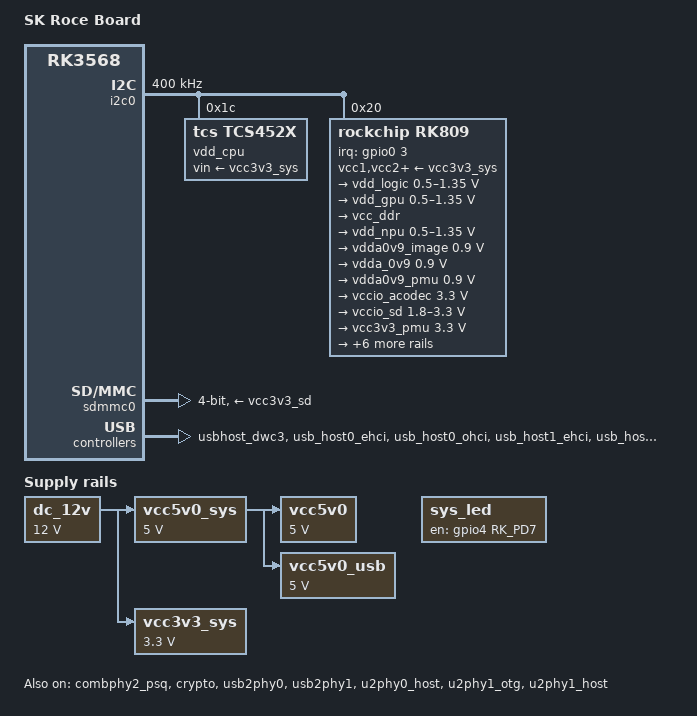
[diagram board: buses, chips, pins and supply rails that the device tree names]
// SPDX-License-Identifier: (GPL-2.0+ OR MIT)
/*
* Copyright (c) 2020 Rockchip Electronics Co., Ltd.
* Copyright (c) 2025 Sergey Kharenko
*/

/dts-v1/;

#include "rk3568.dtsi"
#include "rk3568-u-boot.dtsi"
#include <dt-bindings/input/input.h>

/ {
	model = "SK Roce Board";
	compatible = "sk,roce", "rockchip,rk3568";
	
	aliases {
		mmc0 = &sdhci;
        mmc1 = &sdmmc0;
		scsi = &sata0;
	};

	dc_12v: dc-12v-regulator {
		u-boot,dm-pre-reloc;
		compatible = "regulator-fixed";
		regulator-name = "dc_12v";
		regulator-always-on;
		regulator-boot-on;
		regulator-min-microvolt = <12000000>;
		regulator-max-microvolt = <12000000>;
	};
	
	sys_led: sys-led {
		u-boot,dm-pre-reloc;
		compatible = "regulator-fixed";
		regulator-name = "sys_led";
		enable-active-high;
		gpio = <&gpio4 RK_PD7 GPIO_ACTIVE_HIGH>;
		regulator-boot-on;
		regulator-always-on;
	};
	
	vcc5v0: vcc5v0 {
		u-boot,dm-pre-reloc;
		compatible = "regulator-fixed";
		regulator-name = "vcc5v0";
		regulator-always-on;
		regulator-boot-on;
		regulator-min-microvolt = <5000000>;
		regulator-max-microvolt = <5000000>;
		vin-supply = <&vcc5v0_sys>;
	};
	
	vcc5v0_sys: vcc5v0-sys {
		u-boot,dm-pre-reloc;
		compatible = "regulator-fixed";
		regulator-name = "vcc5v0_sys";
		regulator-always-on;
		regulator-boot-on;
		regulator-min-microvolt = <5000000>;
		regulator-max-microvolt = <5000000>;
		vin-supply = <&dc_12v>;
	};
	
	vcc5v0_usb: vcc5v0-usb {
		u-boot,dm-pre-reloc;
		compatible = "regulator-fixed";
		regulator-name = "vcc5v0_usb";
		regulator-always-on;
		regulator-boot-on;
		regulator-min-microvolt = <5000000>;
		regulator-max-microvolt = <5000000>;
		vin-supply = <&vcc5v0_sys>;
	};
	
	vcc3v3_sys: vcc3v3-sys {
		u-boot,dm-pre-reloc;
		compatible = "regulator-fixed";
		regulator-name = "vcc3v3_sys";
		regulator-always-on;
		regulator-boot-on;
		regulator-min-microvolt = <3300000>;
		regulator-max-microvolt = <3300000>;
		vin-supply = <&dc_12v>;
	};
};

&combphy2_psq {
	u-boot,dm-pre-reloc;
	status = "okay";
};

&crypto {
	status = "okay";
};

&gpio0 {
	u-boot,dm-pre-reloc;
	status = "okay";
};

&gpio1 {
	u-boot,dm-pre-reloc;
	status = "okay";
};

&gpio3 {
	u-boot,dm-pre-reloc;
	status = "okay";
};

&gpio4 {
	u-boot,dm-pre-reloc;
	status = "okay";
};

&i2c0 {
    u-boot,dm-pre-reloc;
	status = "okay";
	clock-frequency = <400000>;
	
	vdd_cpu: tcs4525@1c {
        u-boot,dm-pre-reloc;
		compatible = "tcs,tcs452x";
		reg = <0x1c>;
		vin-supply = <&vcc3v3_sys>;
		regulator-compatible = "fan53555-reg";
		regulator-name = "vdd_cpu";
		regulator-min-microvolt = <712500>;
		regulator-max-microvolt = <1390000>;
		regulator-init-microvolt = <900000>;
		regulator-ramp-delay = <2300>;
		fcs,suspend-voltage-selector = <1>;
		regulator-boot-on;
		regulator-always-on;
		regulator-state-mem {
			regulator-off-in-suspend;
		};
	};
	
	rk809: pmic@20 {
        u-boot,dm-pre-reloc;
		compatible = "rockchip,rk809";
		reg = <0x20>;
		interrupt-parent = <&gpio0>;
		interrupts = <3 IRQ_TYPE_LEVEL_LOW>;
		
		pinctrl-names = "default", "pmic-sleep",
		"pmic-power-off", "pmic-reset";
		pinctrl-0 = <&pmic_int>;
		pinctrl-1 = <&soc_slppin_slp>, <&rk817_slppin_slp>;
		pinctrl-2 = <&soc_slppin_gpio>, <&rk817_slppin_pwrdn>;
		pinctrl-3 = <&soc_slppin_gpio>, <&rk817_slppin_rst>;
		
		rockchip,system-power-controller;
		wakeup-source;
		#clock-cells = <1>;
		clock-output-names = "rk808-clkout1", "rk808-clkout2";
		//fb-inner-reg-idxs = <2>;
		/* 1: rst regs (default in codes), 0: rst the pmic */
		pmic-reset-func = <0>;
		/* not save the PMIC_POWER_EN register in uboot */
		not-save-power-en = <1>;
		
		vcc1-supply = <&vcc3v3_sys>;
		vcc2-supply = <&vcc3v3_sys>;
		vcc3-supply = <&vcc3v3_sys>;
		vcc4-supply = <&vcc3v3_sys>;
		vcc5-supply = <&vcc3v3_sys>;
		vcc6-supply = <&vcc3v3_sys>;
		vcc7-supply = <&vcc3v3_sys>;
		vcc8-supply = <&vcc3v3_sys>;
		vcc9-supply = <&vcc3v3_sys>;
		
		pwrkey {
            u-boot,dm-pre-reloc;
			status = "okay";
		};
		
		pinctrl_rk8xx: pinctrl_rk8xx {
            u-boot,dm-pre-reloc;
			gpio-controller;
			#gpio-cells = <2>;
			
			rk817_slppin_null: rk817_slppin_null {
                u-boot,dm-pre-reloc;
				pins = "gpio_slp";
				function = "pin_fun0";
			};
			
			rk817_slppin_slp: rk817_slppin_slp {
                u-boot,dm-pre-reloc;
				pins = "gpio_slp";
				function = "pin_fun1";
			};
			
			rk817_slppin_pwrdn: rk817_slppin_pwrdn {
                u-boot,dm-pre-reloc;
				pins = "gpio_slp";
				function = "pin_fun2";
			};
			
			rk817_slppin_rst: rk817_slppin_rst {
                u-boot,dm-pre-reloc;
				pins = "gpio_slp";
				function = "pin_fun3";
			};
		};
		
		regulators {
            u-boot,dm-pre-reloc;
			vdd_logic: DCDC_REG1 {
                u-boot,dm-pre-reloc;
				regulator-always-on;
				regulator-boot-on;
				regulator-min-microvolt = <500000>;
				regulator-max-microvolt = <1350000>;
				regulator-init-microvolt = <900000>;
				regulator-ramp-delay = <6001>;
				regulator-initial-mode = <0x2>;
				regulator-name = "vdd_logic";
				regulator-state-mem {
                    u-boot,dm-pre-reloc;
					regulator-off-in-suspend;
				};
			};
			
			vdd_gpu: DCDC_REG2 {
                u-boot,dm-pre-reloc;
				regulator-always-on;
				regulator-boot-on;
				regulator-min-microvolt = <500000>;
				regulator-max-microvolt = <1350000>;
				regulator-init-microvolt = <900000>;
				regulator-ramp-delay = <6001>;
				regulator-initial-mode = <0x2>;
				regulator-name = "vdd_gpu";
				regulator-state-mem {
                    u-boot,dm-pre-reloc;
					regulator-off-in-suspend;
				};
			};
			
			vcc_ddr: DCDC_REG3 {
                u-boot,dm-pre-reloc;
				regulator-always-on;
				regulator-boot-on;
				regulator-initial-mode = <0x2>;
				regulator-name = "vcc_ddr";
				regulator-state-mem {
                    u-boot,dm-pre-reloc;
					regulator-on-in-suspend;
				};
			};
			
			vdd_npu: DCDC_REG4 {
                u-boot,dm-pre-reloc;
				regulator-always-on;
				regulator-boot-on;
				regulator-min-microvolt = <500000>;
				regulator-max-microvolt = <1350000>;
				regulator-init-microvolt = <900000>;
				regulator-ramp-delay = <6001>;
				regulator-initial-mode = <0x2>;
				regulator-name = "vdd_npu";
				regulator-state-mem {
                    u-boot,dm-pre-reloc;
					regulator-off-in-suspend;
				};
			};
			
			vdda0v9_image: LDO_REG1 {
                u-boot,dm-pre-reloc;
				regulator-boot-on;
				regulator-always-on;
				regulator-min-microvolt = <900000>;
				regulator-max-microvolt = <900000>;
				regulator-name = "vdda0v9_image";
				regulator-state-mem {
                    u-boot,dm-pre-reloc;
					regulator-off-in-suspend;
				};
			};
			
			vdda_0v9: LDO_REG2 {
                u-boot,dm-pre-reloc;
				regulator-always-on;
				regulator-boot-on;
				regulator-min-microvolt = <900000>;
				regulator-max-microvolt = <900000>;
				regulator-name = "vdda_0v9";
				regulator-state-mem {
                    u-boot,dm-pre-reloc;
					regulator-off-in-suspend;
				};
			};
			
			vdda0v9_pmu: LDO_REG3 {
                u-boot,dm-pre-reloc;
				regulator-always-on;
				regulator-boot-on;
				regulator-min-microvolt = <900000>;
				regulator-max-microvolt = <900000>;
				regulator-name = "vdda0v9_pmu";
				regulator-state-mem {
                    u-boot,dm-pre-reloc;
					regulator-on-in-suspend;
					regulator-suspend-microvolt = <900000>;
				};
			};
			
			vccio_acodec: LDO_REG4 {
                u-boot,dm-pre-reloc;
				regulator-always-on;
				regulator-boot-on;
				regulator-min-microvolt = <3300000>;
				regulator-max-microvolt = <3300000>;
				regulator-name = "vccio_acodec";
				regulator-state-mem {
                    u-boot,dm-pre-reloc;
					regulator-off-in-suspend;
				};
			};
			
			vccio_sd: LDO_REG5 {
                u-boot,dm-pre-reloc;
				regulator-always-on;
				regulator-boot-on;
				regulator-min-microvolt = <1800000>;
				regulator-max-microvolt = <3300000>;
				regulator-name = "vccio_sd";
				regulator-state-mem {
                    u-boot,dm-pre-reloc;
					regulator-off-in-suspend;
				};
			};
			
			vcc3v3_pmu: LDO_REG6 {
                u-boot,dm-pre-reloc;
				regulator-always-on;
				regulator-boot-on;
				regulator-min-microvolt = <3300000>;
				regulator-max-microvolt = <3300000>;
				regulator-name = "vcc3v3_pmu";
				regulator-state-mem {
                    u-boot,dm-pre-reloc;
					regulator-on-in-suspend;
					regulator-suspend-microvolt = <3300000>;
				};
			};
			
			vcca_1v8: LDO_REG7 {
                u-boot,dm-pre-reloc;
				regulator-always-on;
				regulator-boot-on;
				regulator-min-microvolt = <1800000>;
				regulator-max-microvolt = <1800000>;
				regulator-name = "vcca_1v8";
				regulator-state-mem {
                    u-boot,dm-pre-reloc;
					regulator-off-in-suspend;
				};
			};
			
			vcca1v8_pmu: LDO_REG8 {
                u-boot,dm-pre-reloc;
				regulator-always-on;
				regulator-boot-on;
				regulator-min-microvolt = <1800000>;
				regulator-max-microvolt = <1800000>;
				regulator-name = "vcca1v8_pmu";
				regulator-state-mem {
                    u-boot,dm-pre-reloc;
					regulator-on-in-suspend;
					regulator-suspend-microvolt = <1800000>;
				};
			};
			
			vcca1v8_image: LDO_REG9 {
                u-boot,dm-pre-reloc;
				regulator-always-on;
				regulator-boot-on;
				regulator-min-microvolt = <1800000>;
				regulator-max-microvolt = <1800000>;
				regulator-name = "vcca1v8_image";
				regulator-state-mem {
                    u-boot,dm-pre-reloc;
					regulator-off-in-suspend;
				};
			};
			
			vcc_1v8: DCDC_REG5 {
                u-boot,dm-pre-reloc;
				regulator-always-on;
				regulator-boot-on;
				regulator-min-microvolt = <1800000>;
				regulator-max-microvolt = <1800000>;
				regulator-name = "vcc_1v8";
				regulator-state-mem {
                    u-boot,dm-pre-reloc;
					regulator-off-in-suspend;
				};
			};
			
			vcc_3v3: SWITCH_REG1 {
                u-boot,dm-pre-reloc;
				regulator-always-on;
				regulator-boot-on;
				regulator-name = "vcc_3v3";
				regulator-state-mem {
                    u-boot,dm-pre-reloc;
					regulator-off-in-suspend;
				};
			};
			
			vcc3v3_sd: SWITCH_REG2 {
                u-boot,dm-pre-reloc;
				regulator-always-on;
				regulator-boot-on;
				regulator-name = "vcc3v3_sd";
				regulator-state-mem {
                    u-boot,dm-pre-reloc;
					regulator-off-in-suspend;
				};
			};
		};
	};
};

&pipe_phy_grf1 {
	u-boot,dm-pre-reloc;
};

&pmu_io_domains {
    u-boot,dm-pre-reloc;
	status = "okay";
	pmuio1-supply = <&vcc3v3_pmu>;
	pmuio2-supply = <&vcc3v3_pmu>;
	vccio1-supply = <&vccio_acodec>;
	vccio2-supply = <&vcc_1v8>;
	vccio3-supply = <&vccio_sd>;
	vccio4-supply = <&vcc_1v8>;
	vccio5-supply = <&vcc_3v3>;
	vccio6-supply = <&vcc_1v8>;
	vccio7-supply = <&vcc_3v3>;
};

&pinctrl {
	u-boot,dm-spl;
    
	pmic {
        u-boot,dm-pre-reloc;
		pmic_int: pmic_int {
            u-boot,dm-pre-reloc;
			rockchip,pins = <0 RK_PA3 RK_FUNC_GPIO &pcfg_pull_up>;
		};

		soc_slppin_gpio: soc_slppin_gpio {
            u-boot,dm-pre-reloc;
			rockchip,pins = <0 RK_PA2 RK_FUNC_GPIO &pcfg_output_low_pull_down>;
		};

		soc_slppin_slp: soc_slppin_slp {
            u-boot,dm-pre-reloc;
			rockchip,pins = <0 RK_PA2 1 &pcfg_pull_up>;
		};

		soc_slppin_rst: soc_slppin_rst {
            u-boot,dm-pre-reloc;
			rockchip,pins = <0 RK_PA2 2 &pcfg_pull_none>;
		};
	};
};

&sdmmc0 {
    u-boot,dm-pre-reloc;
	status = "okay";
	max-frequency = <150000000>;
	supports-sd;
	bus-width = <4>;
	cap-mmc-highspeed;
	cap-sd-highspeed;
	disable-wp;
	sd-uhs-sdr104;
	vmmc-supply = <&vcc3v3_sd>;
	vqmmc-supply = <&vccio_sd>;
	pinctrl-names = "default";
	pinctrl-0 = <&sdmmc0_bus4 &sdmmc0_clk &sdmmc0_cmd &sdmmc0_det>;
};

&usb2phy0 {
    u-boot,dm-pre-reloc;
	status = "okay";
};

&usb2phy1 {
    u-boot,dm-pre-reloc;
	status = "okay";
};

&u2phy0_host {
	u-boot,dm-pre-reloc;
	status = "okay";
    phy-supply = <&vcc5v0_usb>;
};

&u2phy1_otg {
    u-boot,dm-pre-reloc;
    status = "okay";
	vbus-supply = <&vcc5v0_usb>;
};

&u2phy1_host {
    u-boot,dm-pre-reloc;
    status = "okay";
	phy-supply = <&vcc5v0_usb>;
};

&usbhost_dwc3 {
	u-boot,dm-pre-reloc;
	status = "okay";
    snps,xhci-trb-ent-quirk;
	maximum-speed = "super-speed";
};

&usb_host0_ehci {
    u-boot,dm-pre-reloc;
	status = "okay";
};

&usb_host0_ohci {
    u-boot,dm-pre-reloc;
	status = "okay";
};

&usb_host1_ehci {
    u-boot,dm-pre-reloc;
	status = "okay";
};

&usb_host1_ohci {
    u-boot,dm-pre-reloc;
	status = "okay";
};
